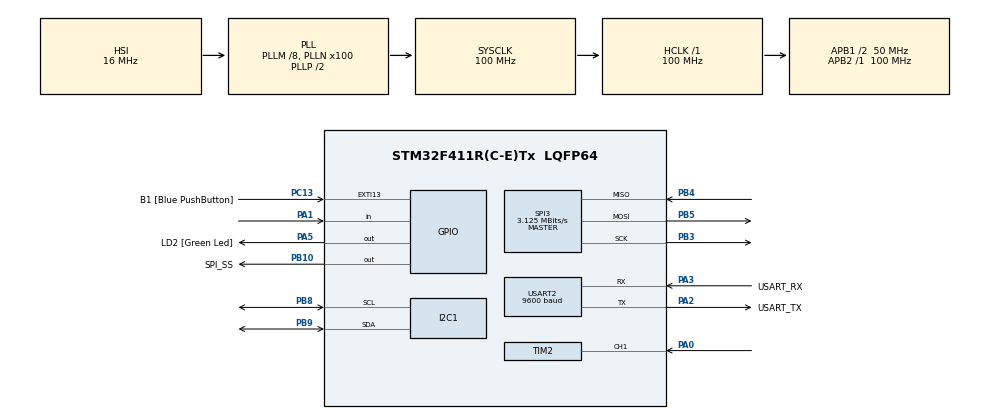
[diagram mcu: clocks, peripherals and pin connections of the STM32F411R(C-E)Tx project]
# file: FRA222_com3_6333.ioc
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ADC1.Channel-3\#ChannelRegularConversion=ADC_CHANNEL_TEMPSENSOR
ADC1.ContinuousConvMode=DISABLE
ADC1.DMAContinuousRequests=DISABLE
ADC1.ExternalTrigConv=ADC_SOFTWARE_START
ADC1.InjNumberOfConversion=0
ADC1.NbrOfConversionFlag=1
ADC1.Rank-3\#ChannelRegularConversion=1
ADC1.SamplingTime-3\#ChannelRegularConversion=ADC_SAMPLETIME_3CYCLES
ADC1.ScanConvMode=DISABLE
ADC1.master=1
Dma.Request0=TIM2_CH1
Dma.TIM2_CH1.0.Direction=DMA_PERIPH_TO_MEMORY
Dma.TIM2_CH1.0.FIFOMode=DMA_FIFOMODE_DISABLE
Dma.TIM2_CH1.0.Instance=DMA1_Stream5
Dma.TIM2_CH1.0.MemDataAlignment=DMA_MDATAALIGN_WORD
Dma.TIM2_CH1.0.MemInc=DMA_MINC_ENABLE
Dma.TIM2_CH1.0.Mode=DMA_CIRCULAR
Dma.TIM2_CH1.0.PeriphDataAlignment=DMA_PDATAALIGN_WORD
Dma.TIM2_CH1.0.PeriphInc=DMA_PINC_DISABLE
Dma.TIM2_CH1.0.Priority=DMA_PRIORITY_LOW
I2C1.I2C_Mode=I2C_Fast
Mcu.Family=STM32F4
Mcu.Name=STM32F411R(C-E)Tx
Mcu.Package=LQFP64
NVIC.DMA1_Stream5_IRQn=true\:0\:0\:false\:false\:true\:false\:true
NVIC.I2C1_ER_IRQn=true\:0\:0\:true\:false\:true\:true\:true
NVIC.I2C1_EV_IRQn=true\:0\:0\:false\:false\:true\:true\:true
NVIC.PriorityGroup=NVIC_PRIORITYGROUP_0
NVIC.TIM1_TRG_COM_TIM11_IRQn=true\:0\:0\:false\:false\:true\:true\:true
NVIC.TIM2_IRQn=true\:0\:0\:false\:false\:true\:true\:true
NVIC.USART2_IRQn=true\:0\:0\:false\:false\:true\:true\:true
PA0-WKUP.Signal=S_TIM2_CH1_ETR
PA1.Signal=GPIO_Input
PA13.GPIO_Label=TMS
PA13.Mode=Serial_Wire
PA13.Signal=SYS_JTMS-SWDIO
PA14.GPIO_Label=TCK
PA14.Mode=Serial_Wire
PA14.Signal=SYS_JTCK-SWCLK
PA2.GPIO_Label=USART_TX
PA2.Mode=Asynchronous
PA2.Signal=USART2_TX
PA3.GPIO_Label=USART_RX
PA3.Mode=Asynchronous
PA3.Signal=USART2_RX
PA5.GPIO_Label=LD2 [Green Led]
PA5.Signal=GPIO_Output
PB10.GPIO_Label=SPI_SS
PB10.Signal=GPIO_Output
PB3.Mode=Full_Duplex_Master
PB3.Signal=SPI3_SCK
PB4.Mode=Full_Duplex_Master
PB4.Signal=SPI3_MISO
PB5.Mode=Full_Duplex_Master
PB5.Signal=SPI3_MOSI
PB8.Mode=I2C
PB8.Signal=I2C1_SCL
PB9.Mode=I2C
PB9.Signal=I2C1_SDA
PC13-ANTI_TAMP.GPIO_Label=B1 [Blue PushButton]
PC13-ANTI_TAMP.GPIO_ModeDefaultEXTI=GPIO_MODE_IT_FALLING
PC13-ANTI_TAMP.Signal=GPXTI13
PC14-OSC32_IN.Mode=LSE-External-Oscillator
PC14-OSC32_IN.Signal=RCC_OSC32_IN
PC15-OSC32_OUT.Mode=LSE-External-Oscillator
PC15-OSC32_OUT.Signal=RCC_OSC32_OUT
PH0\ -\ OSC_IN.Mode=HSE-External-Clock-Source
PH0\ -\ OSC_IN.Signal=RCC_OSC_IN
PH1\ -\ OSC_OUT.Mode=HSE-External-Clock-Source
PH1\ -\ OSC_OUT.Signal=RCC_OSC_OUT
ProjectManager.HeapSize=0x200
ProjectManager.StackSize=0x400
ProjectManager.TargetToolchain=STM32CubeIDE
RCC.48MHZClocksFreq_Value=50000000
RCC.AHBFreq_Value=100000000
RCC.APB1CLKDivider=RCC_HCLK_DIV2
RCC.APB1Freq_Value=50000000
RCC.APB1TimFreq_Value=100000000
RCC.APB2Freq_Value=100000000
RCC.APB2TimFreq_Value=100000000
RCC.CortexFreq_Value=100000000
RCC.FLatency-AdvancedSettings=FLASH_LATENCY_3
RCC.HCLKFreq_Value=100000000
RCC.HSE_VALUE=8000000
RCC.HSI_VALUE=16000000
RCC.PLLM=8
RCC.PLLN=100
RCC.SYSCLKFreq_VALUE=100000000
RCC.SYSCLKSource=RCC_SYSCLKSOURCE_PLLCLK
RCC.VCOOutputFreq_Value=200000000
SH.S_TIM2_CH1_ETR.0=TIM2_CH1,Input_Capture1_from_TI1
SPI3.BaudRatePrescaler=SPI_BAUDRATEPRESCALER_16
SPI3.CalculateBaudRate=3.125 MBits/s
SPI3.DataSize=SPI_DATASIZE_8BIT
SPI3.Direction=SPI_DIRECTION_2LINES
SPI3.Mode=SPI_MODE_MASTER
SPI3.VirtualType=VM_MASTER
TIM11.Prescaler=99
TIM2.Channel-Input_Capture1_from_TI1=TIM_CHANNEL_1
TIM2.Prescaler=99
USART2.BaudRate=9600
USART2.VirtualMode=VM_ASYNC
VP_ADC1_TempSens_Input.Mode=IN-TempSens
VP_TIM11_VS_ClockSourceINT.Mode=Enable_Timer
VP_TIM2_VS_ClockSourceINT.Mode=Internal
board=NUCLEO-F411RE

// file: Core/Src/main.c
/* USER CODE BEGIN Header */
/**
 ******************************************************************************
 * @file           : main.c
 * @brief          : Main program body
 ******************************************************************************
 * @attention
 *
 * Copyright (c) 2022 STMicroelectronics.
 * All rights reserved.
 *
 * This software is licensed under terms that can be found in the LICENSE file
 * in the root directory of this software component.
 * If no LICENSE file comes with this software, it is provided AS-IS.
 *pun
 ******************************************************************************
 */
/* USER CODE END Header */
#include "main.h"

/* USER CODE BEGIN Includes */
#include <stdio.h>
#include <string.h>
/* USER CODE END Includes */

/* USER CODE BEGIN PD */
#define EEPROM_ADDR 0b10100000
#define CAPTURENUM 10
/* USER CODE END PD */

ADC_HandleTypeDef hadc1;

I2C_HandleTypeDef hi2c1;

SPI_HandleTypeDef hspi3;

TIM_HandleTypeDef htim2;
TIM_HandleTypeDef htim11;
DMA_HandleTypeDef hdma_tim2_ch1;

UART_HandleTypeDef huart2;

/* USER CODE BEGIN PV */

uint8_t Temp = 0;
uint16_t TempOld[100] = { 0 };
uint8_t TempNow = 0;

uint32_t capturedata[CAPTURENUM] = { 0 };
int64_t DiffTime[CAPTURENUM - 1] = { 0 };
float MeanTime = 0;

char TxDataBuffer[32] = { 0 };
char RxDataBuffer[3] = { 0 };

uint8_t time_wait = 1;
uint8_t time_work = 1;
uint8_t station_goal = 1;

uint8_t eepromWriteFlag = 0;
uint8_t eepromReadFlag = 0;
uint8_t eepromDataReadBack[3];

uint8_t IOExpdrWrite = 0b01000000;
uint8_t IOExpdrRead = 0b01000001;
uint8_t for_spi[2] = { 0 };

uint64_t _micro = 0;

char H0[] =
		"linku starto.type something to start\r\n howto use: w is +1, s is -1 if finisf press e\r\n";
char H1[] = "select station [1-15]\r\n";
char H2[] = "waiting time from station to station\r\n";
char H3[] = "working time when robot reach the station\r\n";
char H4[] = "run the program. press e to setting again.\r\n";
/* USER CODE END PV */

void SystemClock_Config(void);
static void MX_DMA_Init(void);
static void MX_GPIO_Init(void);
static void MX_USART2_UART_Init(void);
static void MX_ADC1_Init(void);
static void MX_I2C1_Init(void);
static void MX_SPI3_Init(void);
static void MX_TIM11_Init(void);
static void MX_TIM2_Init(void);
/* USER CODE BEGIN PFP */
void ADCPollingMethodUpdate();

void UI_UART();

void buttonReaderCycle();

uint64_t micros();

void EEPROMWrite();
void EEPROMRead(uint8_t *Rdata, uint16_t len);

void IOExpenderInit();
/* USER CODE END PFP */

int main(void)
{

  /* MCU Configuration--------------------------------------------------------*/

  /* Reset of all peripherals, Initializes the Flash interface and the Systick. */
  HAL_Init();

  /* Configure the system clock */
  SystemClock_Config();

  /* Initialize all configured peripherals */
  MX_DMA_Init();
  MX_GPIO_Init();
  MX_USART2_UART_Init();
  MX_ADC1_Init();
  MX_I2C1_Init();
  MX_SPI3_Init();
  MX_TIM11_Init();
  MX_TIM2_Init();
  /* USER CODE BEGIN 2 */
	HAL_TIM_Base_Start_IT(&htim11);
	HAL_UART_Transmit(&huart2, (uint8_t*) H0, strlen(H0), 1000);
	IOExpenderInit();
	HAL_TIM_Base_Start(&htim2);
	HAL_TIM_IC_Start_DMA(&htim2, TIM_CHANNEL_1, (uint32_t*) &capturedata,
	CAPTURENUM);
  /* USER CODE END 2 */

  /* Infinite loop */
	while (1) {

    /* USER CODE BEGIN 3 */
		EEPROMWrite();
		EEPROMRead(eepromDataReadBack, 3);
		HAL_UART_Receive_IT(&huart2, RxDataBuffer, 1);

		ADCPollingMethodUpdate();
		buttonReaderCycle();
	}
  /* USER CODE END 3 */
}

void SystemClock_Config(void)
{
  RCC_OscInitTypeDef RCC_OscInitStruct = {0};
  RCC_ClkInitTypeDef RCC_ClkInitStruct = {0};

  /** Configure the main internal regulator output voltage
  */
  __HAL_RCC_PWR_CLK_ENABLE();
  __HAL_PWR_VOLTAGESCALING_CONFIG(PWR_REGULATOR_VOLTAGE_SCALE1);
  /** Initializes the RCC Oscillators according to the specified parameters
  * in the RCC_OscInitTypeDef structure.
  */
  RCC_OscInitStruct.OscillatorType = RCC_OSCILLATORTYPE_HSI;
  RCC_OscInitStruct.HSIState = RCC_HSI_ON;
  RCC_OscInitStruct.HSICalibrationValue = RCC_HSICALIBRATION_DEFAULT;
  RCC_OscInitStruct.PLL.PLLState = RCC_PLL_ON;
  RCC_OscInitStruct.PLL.PLLSource = RCC_PLLSOURCE_HSI;
  RCC_OscInitStruct.PLL.PLLM = 8;
  RCC_OscInitStruct.PLL.PLLN = 100;
  RCC_OscInitStruct.PLL.PLLP = RCC_PLLP_DIV2;
  RCC_OscInitStruct.PLL.PLLQ = 4;
  if (HAL_RCC_OscConfig(&RCC_OscInitStruct) != HAL_OK)
  {
    Error_Handler();
  }
  /** Initializes the CPU, AHB and APB buses clocks
  */
  RCC_ClkInitStruct.ClockType = RCC_CLOCKTYPE_HCLK|RCC_CLOCKTYPE_SYSCLK
                              |RCC_CLOCKTYPE_PCLK1|RCC_CLOCKTYPE_PCLK2;
  RCC_ClkInitStruct.SYSCLKSource = RCC_SYSCLKSOURCE_PLLCLK;
  RCC_ClkInitStruct.AHBCLKDivider = RCC_SYSCLK_DIV1;
  RCC_ClkInitStruct.APB1CLKDivider = RCC_HCLK_DIV2;
  RCC_ClkInitStruct.APB2CLKDivider = RCC_HCLK_DIV1;

  if (HAL_RCC_ClockConfig(&RCC_ClkInitStruct, FLASH_LATENCY_3) != HAL_OK)
  {
    Error_Handler();
  }
}

static void MX_ADC1_Init(void)
{

  ADC_ChannelConfTypeDef sConfig = {0};

  /** Configure the global features of the ADC (Clock, Resolution, Data Alignment and number of conversion)
  */
  hadc1.Instance = ADC1;
  hadc1.Init.ClockPrescaler = ADC_CLOCK_SYNC_PCLK_DIV4;
  hadc1.Init.Resolution = ADC_RESOLUTION_12B;
  hadc1.Init.ScanConvMode = DISABLE;
  hadc1.Init.ContinuousConvMode = DISABLE;
  hadc1.Init.DiscontinuousConvMode = DISABLE;
  hadc1.Init.ExternalTrigConvEdge = ADC_EXTERNALTRIGCONVEDGE_NONE;
  hadc1.Init.ExternalTrigConv = ADC_SOFTWARE_START;
  hadc1.Init.DataAlign = ADC_DATAALIGN_RIGHT;
  hadc1.Init.NbrOfConversion = 1;
  hadc1.Init.DMAContinuousRequests = DISABLE;
  hadc1.Init.EOCSelection = ADC_EOC_SINGLE_CONV;
  if (HAL_ADC_Init(&hadc1) != HAL_OK)
  {
    Error_Handler();
  }
  /** Configure for the selected ADC regular channel its corresponding rank in the sequencer and its sample time.
  */
  sConfig.Channel = ADC_CHANNEL_TEMPSENSOR;
  sConfig.Rank = 1;
  sConfig.SamplingTime = ADC_SAMPLETIME_3CYCLES;
  if (HAL_ADC_ConfigChannel(&hadc1, &sConfig) != HAL_OK)
  {
    Error_Handler();
  }

}

static void MX_I2C1_Init(void)
{

  hi2c1.Instance = I2C1;
  hi2c1.Init.ClockSpeed = 400000;
  hi2c1.Init.DutyCycle = I2C_DUTYCYCLE_2;
  hi2c1.Init.OwnAddress1 = 0;
  hi2c1.Init.AddressingMode = I2C_ADDRESSINGMODE_7BIT;
  hi2c1.Init.DualAddressMode = I2C_DUALADDRESS_DISABLE;
  hi2c1.Init.OwnAddress2 = 0;
  hi2c1.Init.GeneralCallMode = I2C_GENERALCALL_DISABLE;
  hi2c1.Init.NoStretchMode = I2C_NOSTRETCH_DISABLE;
  if (HAL_I2C_Init(&hi2c1) != HAL_OK)
  {
    Error_Handler();
  }

}

static void MX_SPI3_Init(void)
{

  /* SPI3 parameter configuration*/
  hspi3.Instance = SPI3;
  hspi3.Init.Mode = SPI_MODE_MASTER;
  hspi3.Init.Direction = SPI_DIRECTION_2LINES;
  hspi3.Init.DataSize = SPI_DATASIZE_8BIT;
  hspi3.Init.CLKPolarity = SPI_POLARITY_LOW;
  hspi3.Init.CLKPhase = SPI_PHASE_1EDGE;
  hspi3.Init.NSS = SPI_NSS_SOFT;
  hspi3.Init.BaudRatePrescaler = SPI_BAUDRATEPRESCALER_16;
  hspi3.Init.FirstBit = SPI_FIRSTBIT_MSB;
  hspi3.Init.TIMode = SPI_TIMODE_DISABLE;
  hspi3.Init.CRCCalculation = SPI_CRCCALCULATION_DISABLE;
  hspi3.Init.CRCPolynomial = 10;
  if (HAL_SPI_Init(&hspi3) != HAL_OK)
  {
    Error_Handler();
  }

}

static void MX_TIM2_Init(void)
{

  TIM_ClockConfigTypeDef sClockSourceConfig = {0};
  TIM_MasterConfigTypeDef sMasterConfig = {0};
  TIM_IC_InitTypeDef sConfigIC = {0};

  htim2.Instance = TIM2;
  htim2.Init.Prescaler = 99;
  htim2.Init.CounterMode = TIM_COUNTERMODE_UP;
  htim2.Init.Period = 4294967295;
  htim2.Init.ClockDivision = TIM_CLOCKDIVISION_DIV1;
  htim2.Init.AutoReloadPreload = TIM_AUTORELOAD_PRELOAD_DISABLE;
  if (HAL_TIM_Base_Init(&htim2) != HAL_OK)
  {
    Error_Handler();
  }
  sClockSourceConfig.ClockSource = TIM_CLOCKSOURCE_INTERNAL;
  if (HAL_TIM_ConfigClockSource(&htim2, &sClockSourceConfig) != HAL_OK)
  {
    Error_Handler();
  }
  if (HAL_TIM_IC_Init(&htim2) != HAL_OK)
  {
    Error_Handler();
  }
  sMasterConfig.MasterOutputTrigger = TIM_TRGO_RESET;
  sMasterConfig.MasterSlaveMode = TIM_MASTERSLAVEMODE_DISABLE;
  if (HAL_TIMEx_MasterConfigSynchronization(&htim2, &sMasterConfig) != HAL_OK)
  {
    Error_Handler();
  }
  sConfigIC.ICPolarity = TIM_INPUTCHANNELPOLARITY_RISING;
  sConfigIC.ICSelection = TIM_ICSELECTION_DIRECTTI;
  sConfigIC.ICPrescaler = TIM_ICPSC_DIV1;
  sConfigIC.ICFilter = 0;
  if (HAL_TIM_IC_ConfigChannel(&htim2, &sConfigIC, TIM_CHANNEL_1) != HAL_OK)
  {
    Error_Handler();
  }

}

static void MX_TIM11_Init(void)
{

  htim11.Instance = TIM11;
  htim11.Init.Prescaler = 99;
  htim11.Init.CounterMode = TIM_COUNTERMODE_UP;
  htim11.Init.Period = 65535;
  htim11.Init.ClockDivision = TIM_CLOCKDIVISION_DIV1;
  htim11.Init.AutoReloadPreload = TIM_AUTORELOAD_PRELOAD_DISABLE;
  if (HAL_TIM_Base_Init(&htim11) != HAL_OK)
  {
    Error_Handler();
  }

}

static void MX_USART2_UART_Init(void)
{

  huart2.Instance = USART2;
  huart2.Init.BaudRate = 9600;
  huart2.Init.WordLength = UART_WORDLENGTH_8B;
  huart2.Init.StopBits = UART_STOPBITS_1;
  huart2.Init.Parity = UART_PARITY_NONE;
  huart2.Init.Mode = UART_MODE_TX_RX;
  huart2.Init.HwFlowCtl = UART_HWCONTROL_NONE;
  huart2.Init.OverSampling = UART_OVERSAMPLING_16;
  if (HAL_UART_Init(&huart2) != HAL_OK)
  {
    Error_Handler();
  }

}

static void MX_DMA_Init(void)
{

  /* DMA controller clock enable */
  __HAL_RCC_DMA1_CLK_ENABLE();

  /* DMA interrupt init */
  /* DMA1_Stream5_IRQn interrupt configuration */
  HAL_NVIC_SetPriority(DMA1_Stream5_IRQn, 0, 0);
  HAL_NVIC_EnableIRQ(DMA1_Stream5_IRQn);

}

static void MX_GPIO_Init(void)
{
  GPIO_InitTypeDef GPIO_InitStruct = {0};

  /* GPIO Ports Clock Enable */
  __HAL_RCC_GPIOC_CLK_ENABLE();
  __HAL_RCC_GPIOH_CLK_ENABLE();
  __HAL_RCC_GPIOA_CLK_ENABLE();
  __HAL_RCC_GPIOB_CLK_ENABLE();

  /*Configure GPIO pin Output Level */
  HAL_GPIO_WritePin(LD2_GPIO_Port, LD2_Pin, GPIO_PIN_RESET);

  /*Configure GPIO pin Output Level */
  HAL_GPIO_WritePin(SPI_SS_GPIO_Port, SPI_SS_Pin, GPIO_PIN_RESET);

  /*Configure GPIO pin : B1_Pin */
  GPIO_InitStruct.Pin = B1_Pin;
  GPIO_InitStruct.Mode = GPIO_MODE_IT_FALLING;
  GPIO_InitStruct.Pull = GPIO_NOPULL;
  HAL_GPIO_Init(B1_GPIO_Port, &GPIO_InitStruct);

  /*Configure GPIO pin : PA1 */
  GPIO_InitStruct.Pin = GPIO_PIN_1;
  GPIO_InitStruct.Mode = GPIO_MODE_INPUT;
  GPIO_InitStruct.Pull = GPIO_NOPULL;
  HAL_GPIO_Init(GPIOA, &GPIO_InitStruct);

  /*Configure GPIO pin : LD2_Pin */
  GPIO_InitStruct.Pin = LD2_Pin;
  GPIO_InitStruct.Mode = GPIO_MODE_OUTPUT_PP;
  GPIO_InitStruct.Pull = GPIO_NOPULL;
  GPIO_InitStruct.Speed = GPIO_SPEED_FREQ_LOW;
  HAL_GPIO_Init(LD2_GPIO_Port, &GPIO_InitStruct);

  /*Configure GPIO pin : SPI_SS_Pin */
  GPIO_InitStruct.Pin = SPI_SS_Pin;
  GPIO_InitStruct.Mode = GPIO_MODE_OUTPUT_PP;
  GPIO_InitStruct.Pull = GPIO_NOPULL;
  GPIO_InitStruct.Speed = GPIO_SPEED_FREQ_LOW;
  HAL_GPIO_Init(SPI_SS_GPIO_Port, &GPIO_InitStruct);

}

/* USER CODE BEGIN 4 */

void UI_UART() {
	static uint8_t n_state = 0;
	switch (n_state) {
	case 0:
		HAL_UART_Transmit(&huart2, (uint8_t*) H1, strlen(H1), 10);
		sprintf(TxDataBuffer, "now station_goal:[%d]\r\n", station_goal);
		HAL_UART_Transmit(&huart2, (uint8_t*) TxDataBuffer,
				strlen(TxDataBuffer), 1000);
		n_state = 1;
	case 1:
		switch (RxDataBuffer[0]) {
		case 'w':
			station_goal += 1;
			sprintf(TxDataBuffer, "station_goal:[%d]\r\n", station_goal);
			HAL_UART_Transmit(&huart2, (uint8_t*) TxDataBuffer,
					strlen(TxDataBuffer), 1000);
			RxDataBuffer[0] = 0;
			break;
		case 's':
			station_goal -= 1;
			sprintf(TxDataBuffer, "station_goal:[%d]\r\n", station_goal);
			HAL_UART_Transmit(&huart2, (uint8_t*) TxDataBuffer,
					strlen(TxDataBuffer), 1000);
			RxDataBuffer[0] = 0;
			break;
		case 'e':
			HAL_UART_Transmit(&huart2, (uint8_t*) H2, strlen(H2), 10);
			sprintf(TxDataBuffer, "now time_wait:[%d]\r\n", time_wait);
			HAL_UART_Transmit(&huart2, (uint8_t*) TxDataBuffer,
					strlen(TxDataBuffer), 1000);
			n_state = 2;
			break;
		}
		break;
	case 2:
		switch (RxDataBuffer[0]) {
		case 'w':
			time_wait += 1;
			sprintf(TxDataBuffer, "time_wait:[%d]\r\n", time_wait);
			HAL_UART_Transmit(&huart2, (uint8_t*) TxDataBuffer,
					strlen(TxDataBuffer), 1000);
			RxDataBuffer[0] = 0;
			break;
		case 's':
			time_wait -= 1;
			sprintf(TxDataBuffer, "time_wait:[%d]\r\n", time_wait);
			HAL_UART_Transmit(&huart2, (uint8_t*) TxDataBuffer,
					strlen(TxDataBuffer), 1000);
			RxDataBuffer[0] = 0;
			break;
		case 'e':
			HAL_UART_Transmit(&huart2, (uint8_t*) H3, strlen(H3), 10);
			sprintf(TxDataBuffer, "now time_work:[%d]\r\n", time_work);
			HAL_UART_Transmit(&huart2, (uint8_t*) TxDataBuffer,
					strlen(TxDataBuffer), 1000);
			n_state = 3;
			break;
		}
		break;
	case 3:
		switch (RxDataBuffer[0]) {
		case 'w':
			time_work += 1;
			sprintf(TxDataBuffer, "time_work:[%d]\r\n", time_work);
			HAL_UART_Transmit(&huart2, (uint8_t*) TxDataBuffer,
					strlen(TxDataBuffer), 1000);
			RxDataBuffer[0] = 0;
			break;
		case 's':
			time_work -= 1;
			sprintf(TxDataBuffer, "time_work:[%d]\r\n", time_work);
			HAL_UART_Transmit(&huart2, (uint8_t*) TxDataBuffer,
					strlen(TxDataBuffer), 1000);
			RxDataBuffer[0] = 0;
			break;
		case 'e':
			HAL_UART_Transmit(&huart2, (uint8_t*) H4, strlen(H4), 10);
			eepromWriteFlag = 1;
			n_state = 0;
			break;
		}
		break;
	case 4:
		/*static uint64_t timestamp = 0;
		 static uint8_t state_LED = 1;
		 if (micros() - time_wait > time_wait && state_LED = 1) {
		 timestamp = micros();
		 if (hspi3.State == HAL_SPI_STATE_READY
		 && HAL_GPIO_ReadPin(SPI_SS_GPIO_Port, SPI_SS_Pin)
		 == GPIO_PIN_SET) {
		 MCP4922SetOutput(DACConfig, dataOut);
		 }
		 }
		 else if(micros() - time_wait > time_wait){

		 }*/
		switch (RxDataBuffer[0]) {
		case 'q':
			n_state = 0;
		}
	}
}

void HAL_UART_RxCpltCallback(UART_HandleTypeDef *huart) {
	UI_UART();
}

void buttonReaderCycle() {
	uint32_t CapPos = CAPTURENUM
			- __HAL_DMA_GET_COUNTER(htim2.hdma[TIM_DMA_ID_CC1]);
	uint32_t sum = 0;

	for (register int i = 2; i < CAPTURENUM - 1; i++) {
		DiffTime[i] = capturedata[(CapPos + 1 + i) % CAPTURENUM]
				- capturedata[(CapPos + i) % CAPTURENUM];
		//Sum all  Diff
		sum += DiffTime[i];
	}

	MeanTime = sum / (float) (CAPTURENUM - 3);
}

void EEPROMWrite() {
	if (eepromWriteFlag && hi2c1.State == HAL_I2C_STATE_READY) {

		static uint8_t data[3] = { 0 };
		data[0] = station_goal;
		data[1] = time_wait;
		data[2] = time_work;

		HAL_I2C_Mem_Write_IT(&hi2c1, EEPROM_ADDR, 0x1A, I2C_MEMADD_SIZE_16BIT,
				data, 3);

		eepromWriteFlag = 0;
	}
}

void EEPROMRead(uint8_t *Rdata, uint16_t len) {
	if (eepromReadFlag && hi2c1.State == HAL_I2C_STATE_READY) {

		HAL_I2C_Mem_Read_IT(&hi2c1, EEPROM_ADDR, 0x1a, I2C_MEMADD_SIZE_16BIT,
				Rdata, len);

		eepromReadFlag = 0;
	}
}

void IOExpenderInit() {
	//Init All
	/*static uint8_t Setting[0x16] = { 0xFF, 0x00, 0x00, 0x00, 0x00, 0x00, 0x00,
	 0x00, 0x00, 0x00, 0x00, 0x00, 0xFF, 0x00, 0x00, 0x00, 0x00, 0x00,
	 0x00, 0x00, 0x00, 0x00 };
	 for_spi[0] = 0b01000000;
	 for_spi[1] = Setting;
	 HAL_GPIO_WritePin(SPI_SS_GPIO_Port, SPI_SS_Pin, GPIO_PIN_RESET);
	 HAL_SPI_Transmit_IT(&hspi3, Setting, 16);*/
}

/*void HAL_ADC_ConvCpltCallback(ADC_HandleTypeDef *hadc) {
 static uint8_t num = 0;
 static uint64_t timestamp = 0;
 if (micros() - timestamp > 1000000) //1 s
 {
 timestamp = micros();
 TempOld[num] = Temp;
 TempNow = (((TempOld[num] * 3.6 / 256) - 0.76) / 2.5) + 25;
 num++;
 if (num == 100) {
 num = 0;
 }
 }
 }*/

void HAL_SPI_TxCpltCallback(SPI_HandleTypeDef *hspi) {
	if (hspi == &hspi3) {
		HAL_GPIO_WritePin(SPI_SS_GPIO_Port, SPI_SS_Pin, GPIO_PIN_SET);
	}
}
/*void IOExpenderReadPinA(uint8_t *Rdata) {
 if (HAL_GPIO_ReadPin(SPI_SS_GPIO_Port, SPI_SS_Pin) == GPIO_PIN_SET
 && hspi3.State == HAL_SPI_STATE_READY) {
 HAL_SPI_Mem_Read_IT(&hspi3, IOEXPD_ADDR, 0x12, I2C_MEMADD_SIZE_8BIT,
 Rdata, 1);
 IOExpdrReadFlag = 0;
 }
 }
 void IOExpenderWritePinB(uint8_t Wdata) {
 if (HAL_GPIO_ReadPin(SPI_SS_GPIO_Port, SPI_SS_Pin) == GPIO_PIN_SET
 && hspi3.State == HAL_SPI_STATE_READY) {
 static uint8_t data;
 data = Wdata;
 HAL_SPI_Mem_Write_IT(&hspi3, IOEXPD_ADDR, 0x15, I2C_MEMADD_SIZE_8BIT,
 &data, 1);
 IOExpdreWriteFlag = 0;
 }
 */

void ADCPollingMethodUpdate() {
	static uint8_t num = 0;
	static ADC_ChannelConfTypeDef sConfig;
	sConfig.Channel = ADC_CHANNEL_0;
	sConfig.Rank = 1;
	sConfig.SamplingTime = ADC_SAMPLETIME_3CYCLES;

	HAL_ADC_ConfigChannel(&hadc1, &sConfig);

	HAL_ADC_Start(&hadc1);

	if (HAL_ADC_PollForConversion(&hadc1, 1000000) == HAL_OK)
	{
			Temp = HAL_ADC_GetValue(&hadc1);
			TempOld[num] = Temp;
			TempNow = (((TempOld[num] * 3.6 / 256) - 0.76) / 2.5) + 25;
			num++;
			if (num == 100) {
				num = 0;
			}
	}

		HAL_ADC_Stop(&hadc1);

}

void HAL_TIM_PeriodElapsedCallback(TIM_HandleTypeDef *htim) {
	if (htim == &htim11) {
		_micro += 65535;
	}
}

inline uint64_t micros() {
	return htim11.Instance->CNT + _micro;
}
/* USER CODE END 4 */

void Error_Handler(void)
{
	__disable_irq();
	while (1) {
	}
}
